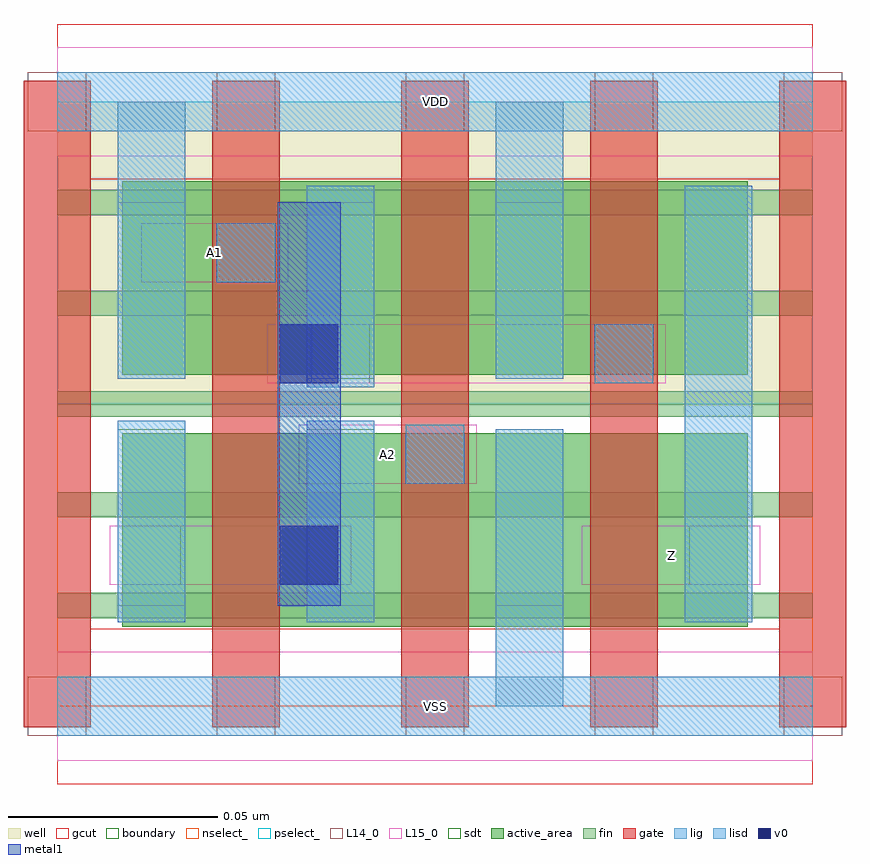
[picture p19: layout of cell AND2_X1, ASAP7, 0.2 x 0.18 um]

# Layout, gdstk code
import gdstk
lib = gdstk.Library(unit=1e-6, precision=2.5e-10)
def R(c, l, rs):  # rectangles x0, y0, x1, y1
    for r in rs: c.add(gdstk.rectangle(r[:2], r[2:], *l))
def A(c, l, x, y, w, h, nx, ny, dx, dy):  # array of equal rectangles
    R(c, l, [(x+i*dx, y+j*dy, x+i*dx+w, y+j*dy+h) for i in range(nx) for j in range(ny)])
well = (1, 0)
fin = (2, 0)
gate = (7, 0)
gcut = (10, 0)
active_area = (11, 0)
nselect_ = (12, 0)
pselect_ = (13, 0)
L14_0 = (14, 0)
L15_0 = (15, 0)
lig = (16, 0)
lisd = (17, 0)
v0 = (18, 0)
metal1 = (19, 0)
sdt = (88, 0)
boundary = (100, 0)

and2_x1 = lib.new_cell('AND2_X1')
R(and2_x1, well, [(0,0.072,0.18,0.144)])
A(and2_x1, fin, 0, 0.021, 0.18, 0.006, 1, 5, 0, 0.024)
A(and2_x1, gate, -0.008, -0.005, 0.016, 0.154, 5, 1, 0.045, 0)
R(and2_x1, gcut, [(0,-0.0185,0.18,0.0185), (-0.008,-0.005,0.008,0.149), (0.172,-0.005,0.188,0.149), (0,0.1255,0.18,0.1625)])
A(and2_x1, active_area, 0.0155, 0.019, 0.059, 0.046, 3, 2, 0.045, 0.06)
R(and2_x1, nselect_, [(0,0,0.18,0.072)])
R(and2_x1, pselect_, [(0,0.072,0.18,0.144)])
A(and2_x1, L14_0, -0.007, -0.007, 0.014, 0.014, 5, 2, 0.045, 0.144)
R(and2_x1, L14_0, [(0.0155,0.029,0.0295,0.043), (0.1505,0.029,0.1645,0.043), (0.083,0.053,0.097,0.067), (0.0605,0.077,0.0745,0.091), (0.128,0.077,0.142,0.091), (0.038,0.101,0.052,0.115)])
R(and2_x1, L15_0, [(0,-0.013,0.18,0.013), (0.0125,0.029,0.07,0.043), (0.125,0.029,0.1675,0.043), (0.0575,0.053,0.1,0.067), (0.05,0.077,0.145,0.091), (0.02,0.101,0.055,0.115), (0,0.131,0.18,0.157)])
R(and2_x1, lig, [(0,-0.007,0.18,0.007), (0.083,0.053,0.097,0.067), (0.128,0.077,0.142,0.091), (0.038,0.101,0.052,0.115), (0,0.137,0.18,0.151)])
R(and2_x1, lisd, [(0.1045,0,0.1205,0.066), (0.1045,0,0.1205,0.066), (0.0145,0.02,0.0305,0.068), (0.0595,0.02,0.0755,0.068), (0.0595,0.02,0.0755,0.068), (0.1495,0.02,0.1655,0.124), (0.0595,0.076,0.0755,0.124), (0.0595,0.076,0.0755,0.124), (0.0145,0.078,0.0305,0.144), (0.1045,0.078,0.1205,0.144), (0.1045,0.078,0.1205,0.144)])
R(and2_x1, v0, [(0.053,0.029,0.067,0.043), (0.053,0.077,0.067,0.091)])
R(and2_x1, metal1, [(0.0525,0.024,0.0675,0.12)])
R(and2_x1, sdt, [(0.1495,0.02,0.1655,0.124), (0.0145,0.024,0.0305,0.066), (0.0595,0.024,0.0755,0.066), (0.0595,0.024,0.0755,0.066), (0.1045,0.024,0.1205,0.066), (0.1045,0.024,0.1205,0.066), (0.0145,0.078,0.0305,0.12), (0.0595,0.078,0.0755,0.12), (0.0595,0.078,0.0755,0.12), (0.1045,0.078,0.1205,0.12), (0.1045,0.078,0.1205,0.12)])
R(and2_x1, boundary, [(0,0,0.18,0.144)])
and2_x1.add(gdstk.Label('VDD', (0.09,0.144), layer=1, texttype=251))
and2_x1.add(gdstk.Label('VSS', (0.09,0), layer=3, texttype=251))
and2_x1.add(gdstk.Label('A1', (0.0375,0.108), layer=15, texttype=251))
and2_x1.add(gdstk.Label('A2', (0.0788,0.06), layer=15, texttype=251))
and2_x1.add(gdstk.Label('Z', (0.1463,0.036), layer=15, texttype=251))
and2_x1.add(gdstk.Label('VSS', (0.09,0), layer=15, texttype=251))
and2_x1.add(gdstk.Label('VDD', (0.09,0.144), layer=15, texttype=251))

lib.write_gds('AND2_X1.gds')
